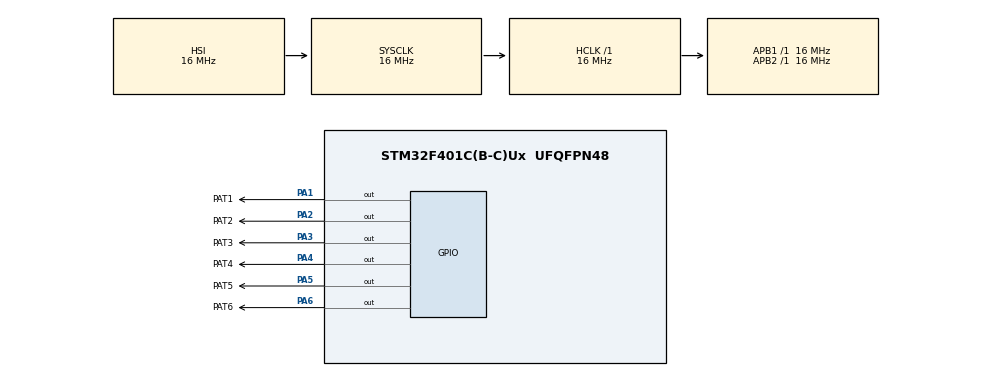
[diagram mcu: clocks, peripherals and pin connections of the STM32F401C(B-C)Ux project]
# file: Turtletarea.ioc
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Mcu.Family=STM32F4
Mcu.Name=STM32F401C(B-C)Ux
Mcu.Package=UFQFPN48
NVIC.PriorityGroup=NVIC_PRIORITYGROUP_4
PA1.GPIO_Label=PAT1
PA1.Signal=GPIO_Output
PA2.GPIO_Label=PAT2
PA2.Signal=GPIO_Output
PA3.GPIO_Label=PAT3
PA3.Signal=GPIO_Output
PA4.GPIO_Label=PAT4
PA4.Signal=GPIO_Output
PA5.GPIO_Label=PAT5
PA5.Signal=GPIO_Output
PA6.GPIO_Label=PAT6
PA6.Signal=GPIO_Output
ProjectManager.HeapSize=0x200
ProjectManager.StackSize=0x400
ProjectManager.TargetToolchain=CMake
RCC.AHBFreq_Value=16000000
RCC.APB1Freq_Value=16000000
RCC.APB2Freq_Value=16000000
RCC.CortexFreq_Value=16000000
RCC.HSE_VALUE=25000000
RCC.HSI_VALUE=16000000
RCC.LSE_VALUE=32768
RCC.SYSCLKFreq_VALUE=16000000
RCC.VCOOutputFreq_Value=192000000
board=custom

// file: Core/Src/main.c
/* USER CODE BEGIN Header */
/**
  ******************************************************************************
  * @file           : main.c
  * @brief          : Main program body
  ******************************************************************************
  * @attention
  *
  * Copyright (c) 2026 STMicroelectronics.
  * All rights reserved.
  *
  * This software is licensed under terms that can be found in the LICENSE file
  * in the root directory of this software component.
  * If no LICENSE file comes with this software, it is provided AS-IS.
  *
  ******************************************************************************
  */
/* USER CODE END Header */
#include "main.h"

void SystemClock_Config(void);
static void MX_GPIO_Init(void);

/* USER CODE BEGIN 0 */

/*
 * Conexiones al TURTLE:
 *   Motor A: ENA = PAT1, IN1 = PAT3, IN2 = PAT4
 *   Motor B: ENB = PAT2, IN3 = PAT5, IN4 = PAT6
 *
 * dir:  1 = adelante,  -1 = atrás,  0 = detenido
 */
static void motorA(int8_t dir)
{
  HAL_GPIO_WritePin(GPIOA, PAT3_Pin, (dir > 0) ? GPIO_PIN_SET : GPIO_PIN_RESET);  // IN1
  HAL_GPIO_WritePin(GPIOA, PAT4_Pin, (dir < 0) ? GPIO_PIN_SET : GPIO_PIN_RESET);  // IN2
  HAL_GPIO_WritePin(GPIOA, PAT1_Pin, (dir != 0) ? GPIO_PIN_SET : GPIO_PIN_RESET); // ENA
}

static void motorB(int8_t dir)
{
  HAL_GPIO_WritePin(GPIOA, PAT5_Pin, (dir > 0) ? GPIO_PIN_SET : GPIO_PIN_RESET);  // IN3
  HAL_GPIO_WritePin(GPIOA, PAT6_Pin, (dir < 0) ? GPIO_PIN_SET : GPIO_PIN_RESET);  // IN4
  HAL_GPIO_WritePin(GPIOA, PAT2_Pin, (dir != 0) ? GPIO_PIN_SET : GPIO_PIN_RESET); // ENB
}

static void detener(void)
{
  motorA(0);
  motorB(0);
}

// Secuencia 1: avanzar en línea recta
static void avanzar(uint32_t ms)
{
  motorA(1);
  motorB(1);
  HAL_Delay(ms);
  detener();
}

// Secuencia 2: girar en el lugar hacia un lado
static void girar_izquierda(uint32_t ms)
{
  motorA(-1);
  motorB(1);
  HAL_Delay(ms);
  detener();
}

// Secuencia 3: retroceder en línea recta
static void retroceder(uint32_t ms)
{
  motorA(-1);
  motorB(-1);
  HAL_Delay(ms);
  detener();
}

// Secuencia 4: girar en el lugar hacia el otro lado
static void girar_derecha(uint32_t ms)
{
  motorA(1);
  motorB(-1);
  HAL_Delay(ms);
  detener();
}

/* USER CODE END 0 */

int main(void)
{

  /* MCU Configuration--------------------------------------------------------*/

  /* Reset of all peripherals, Initializes the Flash interface and the Systick. */
  HAL_Init();

  /* Configure the system clock */
  SystemClock_Config();

  /* Initialize all configured peripherals */
  MX_GPIO_Init();
  /* USER CODE BEGIN 2 */

  // Las 4 secuencias, una tras otra (se ejecutan una sola vez)
  avanzar(4000);            // 1. Avanzar 4 s
  HAL_Delay(500);

  girar_izquierda(3000);    // 2. Girar en el lugar hacia un lado 3 s
  HAL_Delay(500);

  retroceder(4000);         // 3. Retroceder 4 s
  HAL_Delay(500);

  girar_derecha(3000);      // 4. Girar en el lugar hacia el otro lado 3 s

  /* USER CODE END 2 */

  /* Infinite loop */
  while (1)
  {

  }
}

void SystemClock_Config(void)
{
  RCC_OscInitTypeDef RCC_OscInitStruct = {0};
  RCC_ClkInitTypeDef RCC_ClkInitStruct = {0};

  /** Configure the main internal regulator output voltage
  */
  __HAL_RCC_PWR_CLK_ENABLE();
  __HAL_PWR_VOLTAGESCALING_CONFIG(PWR_REGULATOR_VOLTAGE_SCALE2);

  /** Initializes the RCC Oscillators according to the specified parameters
  * in the RCC_OscInitTypeDef structure.
  */
  RCC_OscInitStruct.OscillatorType = RCC_OSCILLATORTYPE_HSI;
  RCC_OscInitStruct.HSIState = RCC_HSI_ON;
  RCC_OscInitStruct.HSICalibrationValue = RCC_HSICALIBRATION_DEFAULT;
  RCC_OscInitStruct.PLL.PLLState = RCC_PLL_NONE;
  if (HAL_RCC_OscConfig(&RCC_OscInitStruct) != HAL_OK)
  {
    Error_Handler();
  }

  /** Initializes the CPU, AHB and APB buses clocks
  */
  RCC_ClkInitStruct.ClockType = RCC_CLOCKTYPE_HCLK|RCC_CLOCKTYPE_SYSCLK
                              |RCC_CLOCKTYPE_PCLK1|RCC_CLOCKTYPE_PCLK2;
  RCC_ClkInitStruct.SYSCLKSource = RCC_SYSCLKSOURCE_HSI;
  RCC_ClkInitStruct.AHBCLKDivider = RCC_SYSCLK_DIV1;
  RCC_ClkInitStruct.APB1CLKDivider = RCC_HCLK_DIV1;
  RCC_ClkInitStruct.APB2CLKDivider = RCC_HCLK_DIV1;

  if (HAL_RCC_ClockConfig(&RCC_ClkInitStruct, FLASH_LATENCY_0) != HAL_OK)
  {
    Error_Handler();
  }
}

static void MX_GPIO_Init(void)
{
  GPIO_InitTypeDef GPIO_InitStruct = {0};

  /* GPIO Ports Clock Enable */
  __HAL_RCC_GPIOA_CLK_ENABLE();

  /*Configure GPIO pin Output Level */
  HAL_GPIO_WritePin(GPIOA, PAT1_Pin|PAT2_Pin|PAT3_Pin|PAT4_Pin
                          |PAT5_Pin|PAT6_Pin, GPIO_PIN_RESET);

  /*Configure GPIO pins : PAT1_Pin PAT2_Pin PAT3_Pin PAT4_Pin
                           PAT5_Pin PAT6_Pin */
  GPIO_InitStruct.Pin = PAT1_Pin|PAT2_Pin|PAT3_Pin|PAT4_Pin
                          |PAT5_Pin|PAT6_Pin;
  GPIO_InitStruct.Mode = GPIO_MODE_OUTPUT_PP;
  GPIO_InitStruct.Pull = GPIO_NOPULL;
  GPIO_InitStruct.Speed = GPIO_SPEED_FREQ_LOW;
  HAL_GPIO_Init(GPIOA, &GPIO_InitStruct);

}

void Error_Handler(void)
{
  __disable_irq();
  while (1)
  {
  }
}
